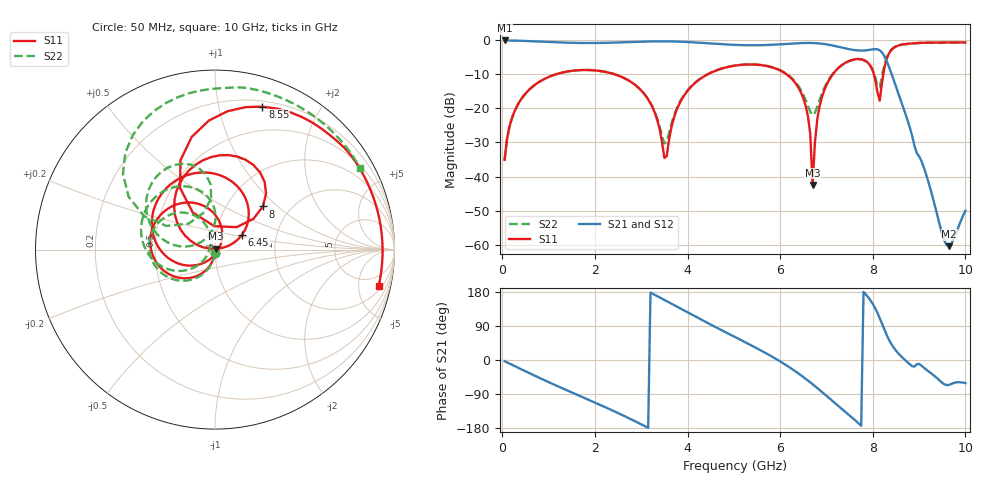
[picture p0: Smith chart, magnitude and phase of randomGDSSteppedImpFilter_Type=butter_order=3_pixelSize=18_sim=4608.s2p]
! freq	dB(S11)	phase(S11)	dB(S12)	phase(S12)
!  dB(S21)	phase(S21)	dB(S22)	phase(S22)
!S-par simulation data
#  GHz  S  DB  R 50
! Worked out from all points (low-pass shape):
!   200 points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, 50 MHz to 10 GHz, reference 50 ohm
!   highest |S21| = -0.01 dB at 50 MHz (marker M1); lowest = -60.5 dB at 9.65 GHz (marker M2)
!   |S21| within 3 dB of the highest: start of sweep to 8.158 GHz
!   lowest |S11| = -42.5 dB at 6.7 GHz (marker M3), VSWR 1.02, Z = 50.6 + j0.486 ohm
!   |S11| at or under -10 dB: start of sweep to 1.147 GHz; 2.436 GHz to 4.43 GHz (1.994 GHz wide, 58.1 % of centre); 6.142 GHz to 7.135 GHz (993.3 MHz wide, 15 % of centre) (the widest 3 of 4)
!   |S22| runs from -35.1 to -0.6 dB; largest |S21 - S12| = 0
!   S11 on the Smith chart (normalised r, x): 50 MHz: 1.00, -0.04; 6.45 GHz: 1.33, +0.23; 8 GHz: 1.46, +0.81; 8.55 GHz: 0.25, +1.36; 10 GHz: 2.65, -8.38
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0.05  -35.10 -92.8  -0.01 -3.1  -0.01 -3.1  -35.10 -92.5
0.2  -23.20 -102.9  -0.04 -12.1  -0.04 -12.1  -23.20 -101.8
0.5  -15.64 -121.7  -0.16 -29.8  -0.16 -29.8  -15.63 -118.8
1.75  -8.69 165.1  -0.75 -98.9  -0.75 -98.9  -8.69 176.1
2.85  -12.88 98.0  -0.44 -160.6  -0.44 -160.6  -12.86 122.0
3.4  -26.25 45.9  -0.27 165.0  -0.27 165.0  -25.42 116.2
3.5  -34.56 -6.3  -0.27 158.5  -0.27 158.5  -30.27 153.8
4  -14.82 -150.9  -0.47 125.7  -0.47 125.7  -14.67 -142.7
5.05  -7.35 134.8  -1.33 59.1  -1.33 59.1  -7.31 162.5
5.85  -8.01 78.6  -1.27 7.1  -1.27 7.1  -7.95 118.2
6.45  -15.32 28.7  -0.78 -40.4  -0.78 -40.4  -14.63 89.0
6.65  -27.49 13.1  -0.74 -59.0  -0.74 -59.0  -20.96 109.9
6.7  -42.52 40.0  -0.76 -63.9  -0.76 -63.9  -21.94 128.6
6.8  -23.29 169.1  -0.83 -73.9  -0.83 -73.9  -19.54 163.3
7.05  -11.79 144.7  -1.27 -99.6  -1.27 -99.6  -11.49 171.4
7.6  -5.59 87.4  -2.82 -156.8  -2.82 -156.8  -5.67 128.9
8  -8.89 42.0  -2.63 148.0  -2.63 148.0  -8.79 93.8
8.15  -17.69 91.7  -2.91 110.7  -2.91 110.7  -13.72 135.3
8.35  -3.86 101.7  -7.75 53.5  -7.75 53.5  -3.56 140.6
8.55  -1.52 71.6  -15.48 17.7  -15.48 17.7  -1.47 113.6
9.65  -0.60 1.9  -60.47 -65.5  -60.47 -65.5  -0.66 45.0
10  -0.59 -12.4  -50.06 -61.0  -50.06 -61.0  -0.65 29.3
